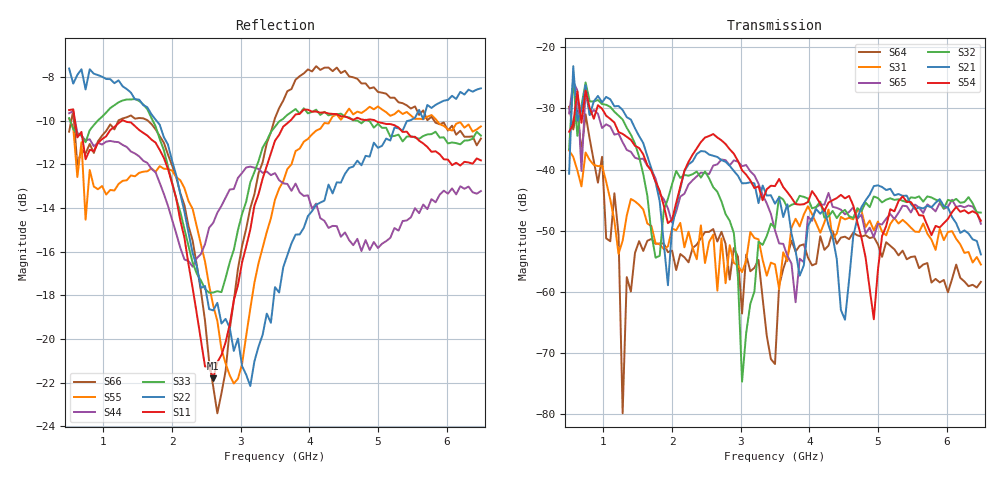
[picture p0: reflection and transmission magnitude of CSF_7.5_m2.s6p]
!Keysight Technologies,M9804A,MY58100912,A.14.10.03
!Date: Thursday, April 27, 2023 10:28:33
!Correction: S11(C  6-Port  )
!S12(C  6-Port  )
!S13(C  6-Port  )
!S14(C  6-Port  )
!S15(C  6-Port  )
!S16(C  6-Port  )
!S21(C  6-Port  )
!S22(C  6-Port  )
!S23(C  6-Port  )
!S24(C  6-Port  )
!S25(C  6-Port  )
!S26(C  6-Port  )
!S31(C  6-Port  )
!S32(C  6-Port  )
!S33(C  6-Port  )
!S34(C  6-Port  )
!S35(C  6-Port  )
!S36(C  6-Port  )
!S41(C  6-Port  )
!S42(C  6-Port  )
!S43(C  6-Port  )
!S44(C  6-Port  )
!S45(C  6-Port  )
!S46(C  6-Port  )
!S51(C  6-Port  )
!S52(C  6-Port  )
!S53(C  6-Port  )
!S54(C  6-Port  )
!S55(C  6-Port  )
!S56(C  6-Port  )
!S61(C  6-Port  )
!S62(C  6-Port  )
!S63(C  6-Port  )
!S64(C  6-Port  )
!S65(C  6-Port  )
!S66(C  6-Port  )
!S6P File: Measurement: :
# Hz S  RI  R 50
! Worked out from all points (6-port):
!   101 points, 500 MHz to 6.5 GHz, reference 50 ohm
!   strongest paths, dB at 500 MHz, 2 GHz, 3.5 GHz, 5 GHz, 6.5 GHz:
!     S54: -33.8, -48.2, -42.7, -56.4, -48.4
!     S21: -40.7, -49.6, -45.6, -42.6, -53.9
!     S32: -36.7, -42.4, -49.6, -44.7, -47.0
!     S65: -30.8, -48.7, -49.9, -48.9, -48.9
!     S31: -36.9, -49.7, -55.5, -48.5, -55.5
!     S64: -29.7, -53.3, -71.8, -52.3, -58.4
!   lowest |S11| = -21.8 dB at 2.6 GHz (marker M1), VSWR 1.18, Z = 42.7 + j1.98 ohm
!   |S11| at or under -10 dB: 584.1 MHz to 1.271 GHz (686.6 MHz wide, 74 % of centre); 1.296 GHz to 3.723 GHz (2.427 GHz wide, 96.7 % of centre); 4.957 GHz to end of sweep
